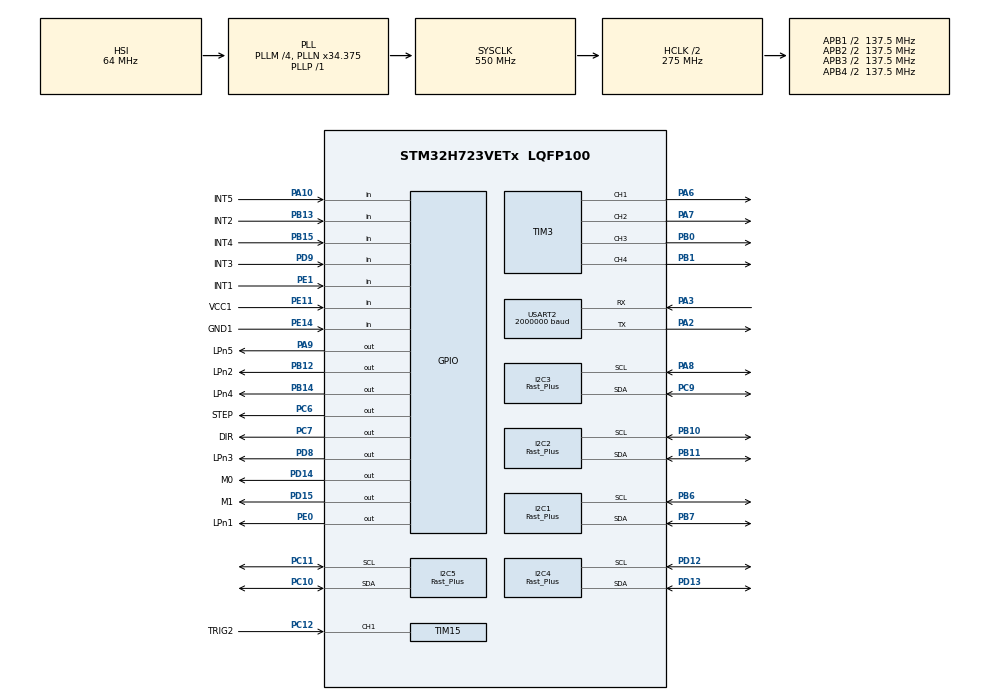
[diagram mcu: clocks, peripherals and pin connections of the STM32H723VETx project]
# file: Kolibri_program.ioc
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I2C1.I2C_Speed_Mode=I2C_Fast_Plus
I2C1.Speed=1000
I2C1.Timing=0x00100618
I2C2.I2C_Speed_Mode=I2C_Fast_Plus
I2C2.Timing=0x00100618
I2C3.I2C_Speed_Mode=I2C_Fast_Plus
I2C3.Timing=0x00100618
I2C4.I2C_Speed_Mode=I2C_Fast_Plus
I2C4.Timing=0x00100618
I2C5.I2C_Speed_Mode=I2C_Fast_Plus
I2C5.Timing=0x00100618
Mcu.Family=STM32H7
Mcu.Name=STM32H723VETx
Mcu.Package=LQFP100
NVIC.PriorityGroup=NVIC_PRIORITYGROUP_4
PA10.GPIO_Label=INT5
PA10.Signal=GPIO_Input
PA13(JTMS/SWDIO).Mode=Serial_Wire
PA13(JTMS/SWDIO).Signal=DEBUG_JTMS-SWDIO
PA14(JTCK/SWCLK).Mode=Serial_Wire
PA14(JTCK/SWCLK).Signal=DEBUG_JTCK-SWCLK
PA2.Mode=Asynchronous
PA2.Signal=USART2_TX
PA3.Mode=Asynchronous
PA3.Signal=USART2_RX
PA6.Signal=S_TIM3_CH1
PA7.Signal=S_TIM3_CH2
PA8.Mode=I2C
PA8.Signal=I2C3_SCL
PA9.GPIO_Label=LPn5
PA9.PinState=GPIO_PIN_SET
PA9.Signal=GPIO_Output
PB0.Signal=S_TIM3_CH3
PB1.Signal=S_TIM3_CH4
PB10.Mode=I2C
PB10.Signal=I2C2_SCL
PB11.Mode=I2C
PB11.Signal=I2C2_SDA
PB12.GPIO_Label=LPn2
PB12.PinState=GPIO_PIN_SET
PB12.Signal=GPIO_Output
PB13.GPIO_Label=INT2
PB13.Signal=GPIO_Input
PB14.GPIO_Label=LPn4
PB14.PinState=GPIO_PIN_SET
PB14.Signal=GPIO_Output
PB15.GPIO_Label=INT4
PB15.Signal=GPIO_Input
PB6.Mode=I2C
PB6.Signal=I2C1_SCL
PB7.Mode=I2C
PB7.Signal=I2C1_SDA
PC10.Mode=I2C
PC10.Signal=I2C5_SDA
PC11.Mode=I2C
PC11.Signal=I2C5_SCL
PC12.GPIO_Label=TRIG2
PC12.Signal=S_TIM15_CH1
PC6.GPIO_Label=STEP
PC6.GPIO_PuPd=GPIO_PULLDOWN
PC6.GPIO_Speed=GPIO_SPEED_FREQ_HIGH
PC6.Signal=GPIO_Output
PC7.GPIO_Label=DIR
PC7.Signal=GPIO_Output
PC9.Mode=I2C
PC9.Signal=I2C3_SDA
PD12.Mode=I2C
PD12.Signal=I2C4_SCL
PD13.Mode=I2C
PD13.Signal=I2C4_SDA
PD14.GPIO_Label=M0
PD14.PinState=GPIO_PIN_RESET
PD14.Signal=GPIO_Output
PD15.GPIO_Label=M1
PD15.PinState=GPIO_PIN_RESET
PD15.Signal=GPIO_Output
PD8.GPIO_Label=LPn3
PD8.PinState=GPIO_PIN_SET
PD8.Signal=GPIO_Output
PD9.GPIO_Label=INT3
PD9.Signal=GPIO_Input
PE0.GPIO_Label=LPn1
PE0.PinState=GPIO_PIN_SET
PE0.Signal=GPIO_Output
PE1.GPIO_Label=INT1
PE1.Signal=GPIO_Input
PE11.GPIO_Label=VCC1
PE11.GPIO_PuPd=GPIO_NOPULL
PE11.Signal=GPIO_Input
PE14.GPIO_Label=GND1
PE14.GPIO_PuPd=GPIO_NOPULL
PE14.Signal=GPIO_Input
PH0-OSC_IN.Mode=HSE-External-Oscillator
PH0-OSC_IN.Signal=RCC_OSC_IN
PH1-OSC_OUT.Mode=HSE-External-Oscillator
PH1-OSC_OUT.Signal=RCC_OSC_OUT
ProjectManager.HeapSize=0x800
ProjectManager.StackSize=0xA00
ProjectManager.TargetToolchain=STM32CubeIDE
RCC.ADCFreq_Value=129000000
RCC.APB1Freq_Value=137500000
RCC.APB2Freq_Value=137500000
RCC.APB3Freq_Value=137500000
RCC.APB4Freq_Value=137500000
RCC.CortexFreq_Value=550000000
RCC.D1PPRE=RCC_APB3_DIV2
RCC.D2PPRE1=RCC_APB1_DIV2
RCC.D2PPRE2=RCC_APB2_DIV2
RCC.D3PPRE=RCC_APB4_DIV2
RCC.DIVM1=4
RCC.DIVM3=4
RCC.DIVN1=34
RCC.DIVN3=15
RCC.DIVP1=1
RCC.DIVR3=6
RCC.HCLKFreq_Value=275000000
RCC.HPRE=RCC_HCLK_DIV2
RCC.HSE_VALUE=25000000
RCC.I2C123CLockSelection=RCC_I2C1235CLKSOURCE_PLL3
RCC.I2C4CLockSelection=RCC_I2C4CLKSOURCE_PLL3
RCC.PLL2FRACN=0
RCC.PLL3FRACN=0
RCC.PLLFRACN=3072
RCC.SYSCLKFreq_VALUE=550000000
RCC.SYSCLKSource=RCC_SYSCLKSOURCE_PLLCLK
RCC.USBCLockSelection=RCC_USBCLKSOURCE_HSI48
RCC.USBFreq_Value=48000000
SH.S_TIM15_CH1.0=TIM15_CH1,Input_Capture1_from_TI1
SH.S_TIM3_CH1.0=TIM3_CH1,PWM Generation1 CH1
SH.S_TIM3_CH2.0=TIM3_CH2,PWM Generation2 CH2
SH.S_TIM3_CH3.0=TIM3_CH3,PWM Generation3 CH3
SH.S_TIM3_CH4.0=TIM3_CH4,PWM Generation4 CH4
TIM15.Channel-Input_Capture1_from_TI1=TIM_CHANNEL_1
TIM3.Channel-PWM\ Generation1\ CH1=TIM_CHANNEL_1
TIM3.Channel-PWM\ Generation2\ CH2=TIM_CHANNEL_2
TIM3.Channel-PWM\ Generation3\ CH3=TIM_CHANNEL_3
TIM3.Channel-PWM\ Generation4\ CH4=TIM_CHANNEL_4
USART2.BaudRate=2000000
USART2.SwapParam=ADVFEATURE_SWAP_DISABLE
USART2.VirtualMode-Asynchronous=VM_ASYNC
VP_TIM3_VS_ClockSourceINT.Mode=Internal
board=custom

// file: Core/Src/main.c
/* USER CODE BEGIN Header */
/**
  ******************************************************************************
  * @file           : main.c
  * @brief          : Main program body
  ******************************************************************************
  * @attention
  *
  * Copyright (c) 2023 STMicroelectronics.
  * All rights reserved.
  *
  * This software is licensed under terms that can be found in the LICENSE file
  * in the root directory of this software component.
  * If no LICENSE file comes with this software, it is provided AS-IS.
  *
  ******************************************************************************
  */
/* USER CODE END Header */
#include "main.h"

/* USER CODE BEGIN Includes */
#include "vl53l5cx_api.h"
/* USER CODE END Includes */

I2C_HandleTypeDef hi2c1;
I2C_HandleTypeDef hi2c2;
I2C_HandleTypeDef hi2c3;
I2C_HandleTypeDef hi2c4;
I2C_HandleTypeDef hi2c5;

TIM_HandleTypeDef htim3;
TIM_HandleTypeDef htim15;

UART_HandleTypeDef huart2;

/* USER CODE BEGIN PV */
typedef struct
{
	VL53L5CX_Configuration 	Sensor;
	VL53L5CX_ResultsData 	Results_Sensor;
	uint8_t SensorisAlive;
	uint8_t status;

} VL53L5CX_Sensor;

VL53L5CX_Sensor Sensor1;
VL53L5CX_Sensor Sensor2;
VL53L5CX_Sensor Sensor3;
VL53L5CX_Sensor Sensor4;
VL53L5CX_Sensor Sensor5;

uint8_t GND1_Pin_read = 0;
uint8_t VIN1_Pin_read = 0;

uint16_t Position = 0;

/* USER CODE END PV */

void SystemClock_Config(void);
void PeriphCommonClock_Config(void);
static void MX_GPIO_Init(void);
static void MX_I2C1_Init(void);
static void MX_I2C2_Init(void);
static void MX_I2C3_Init(void);
static void MX_I2C4_Init(void);
static void MX_I2C5_Init(void);
static void MX_TIM3_Init(void);
static void MX_TIM15_Init(void);
static void MX_USART2_UART_Init(void);

/* USER CODE BEGIN 0 */

uint8_t get_data_by_polling(VL53L5CX_Sensor *Sensor){
	uint8_t p_data_ready, status = 0;
	HAL_StatusTypeDef ReadOK = HAL_OK;
	status = vl53l5cx_check_data_ready(&Sensor->Sensor, &p_data_ready);
	if(p_data_ready){
		status = vl53l5cx_get_ranging_data(&Sensor->Sensor, &Sensor->Results_Sensor);

		do{
			ReadOK = HAL_UART_Transmit(&huart2, (uint8_t*)&Position, 2, 1000);
		}while(ReadOK != HAL_OK);

		do{
			ReadOK = HAL_UART_Transmit(&huart2, (uint8_t*)(&Sensor->Sensor.platform.SensorNumber), 2, 1000);
		}while(ReadOK != HAL_OK);

		do{
			ReadOK = (HAL_UART_Transmit(&huart2, (uint8_t*)(&Sensor->Results_Sensor.distance_mm), 128, 1000) == HAL_BUSY);
		}while(ReadOK != HAL_OK);

		if(ReadOK == HAL_OK){
			HAL_Delay(10);
			return 1;
		}
		else{
			HAL_Delay(10);
			return 0;
		}
	}
	HAL_Delay(10);
	return 0;
}

void ReturnHome(void){

	HAL_GPIO_WritePin(DIR_GPIO_Port, DIR_Pin, GPIO_PIN_SET);

	for(int i = 0; i<50; i++){
		HAL_GPIO_TogglePin(GPIOC, GPIO_PIN_6);
		HAL_Delay(15);
	}

	do{
		HAL_GPIO_TogglePin(GPIOC, GPIO_PIN_6);
		HAL_Delay(15);
		GND1_Pin_read = HAL_GPIO_ReadPin(GPIOE, GPIO_PIN_11);
		VIN1_Pin_read = HAL_GPIO_ReadPin(GPIOE, GPIO_PIN_14);
	} while(!((VIN1_Pin_read == 1) && GND1_Pin_read == 1));

	HAL_GPIO_WritePin(GPIOC, GPIO_PIN_6, GPIO_PIN_RESET);
	HAL_Delay(100);

	HAL_GPIO_WritePin(DIR_GPIO_Port, DIR_Pin, GPIO_PIN_RESET);

}

void MoveNextPos(){

	uint8_t OldVal = 1;
	uint8_t NewVal = 0;
	HAL_Delay(100);

	HAL_GPIO_WritePin(DIR_GPIO_Port, DIR_Pin, GPIO_PIN_SET);

	do{
		HAL_GPIO_TogglePin(GPIOC, GPIO_PIN_6);
		HAL_Delay(15);
		HAL_GPIO_TogglePin(GPIOC, GPIO_PIN_6);
		HAL_Delay(15);

		VIN1_Pin_read = HAL_GPIO_ReadPin(GPIOE, GPIO_PIN_14);
		uint16_t p = 0;

		while(1){
			if(HAL_GPIO_ReadPin(GPIOE, GPIO_PIN_14) == 1){
				p++;
				if(p > 20000){
					break;
				}
			}
			else{
				VIN1_Pin_read = 0;
				break;
			}
		}
	} while((VIN1_Pin_read == 0));

	HAL_Delay(100);

	VIN1_Pin_read = HAL_GPIO_ReadPin(GPIOE, GPIO_PIN_14);

	do{
		HAL_GPIO_TogglePin(GPIOC, GPIO_PIN_6);
		HAL_Delay(15);
		HAL_GPIO_TogglePin(GPIOC, GPIO_PIN_6);
		HAL_Delay(15);

		VIN1_Pin_read = HAL_GPIO_ReadPin(GPIOE, GPIO_PIN_14);
		NewVal = VIN1_Pin_read;

		uint16_t p = 0;
		while(1){
			if(NewVal == HAL_GPIO_ReadPin(GPIOE, GPIO_PIN_14)){
				p++;
				if(p > 20000){
					break;
				}
			}
			else{
				NewVal = OldVal;
				break;
			}
		}
	} while(!(OldVal > NewVal)); //Premikam dokler nisem nazaj na nic

	HAL_Delay(100);
	VIN1_Pin_read = HAL_GPIO_ReadPin(GPIOE, GPIO_PIN_14);

	HAL_GPIO_TogglePin(GPIOC, GPIO_PIN_6);
	HAL_Delay(15);
	HAL_GPIO_TogglePin(GPIOC, GPIO_PIN_6);
	HAL_Delay(15);
	OldVal = NewVal;

	do{
		HAL_GPIO_TogglePin(GPIOC, GPIO_PIN_6);
		HAL_Delay(15);
		HAL_GPIO_TogglePin(GPIOC, GPIO_PIN_6);
		HAL_Delay(15);

		VIN1_Pin_read = HAL_GPIO_ReadPin(GPIOE, GPIO_PIN_14);
		NewVal = VIN1_Pin_read;

		uint16_t p = 0;
		while(1){
			if(NewVal == HAL_GPIO_ReadPin(GPIOE, GPIO_PIN_14)){
				p++;
				if(p > 20000){
					break;
				}
			}
			else{
				NewVal = OldVal;
				break;
			}
		}
	} while(!(OldVal < NewVal)); //Premikam dokler nisem nazaj na 1

	VIN1_Pin_read = HAL_GPIO_ReadPin(GPIOE, GPIO_PIN_14);

	HAL_GPIO_TogglePin(GPIOC, GPIO_PIN_6);
	HAL_Delay(15);
	HAL_GPIO_TogglePin(GPIOC, GPIO_PIN_6);
	HAL_Delay(15);

	HAL_GPIO_WritePin(GPIOC, GPIO_PIN_6, GPIO_PIN_RESET);
	Position = Position + 1;

	HAL_GPIO_WritePin(DIR_GPIO_Port, DIR_Pin, GPIO_PIN_RESET);

	HAL_Delay(100);
}

/* USER CODE END 0 */

int main(void)
{
  /* USER CODE BEGIN 1 */
	for(int i = 0; i<50000; i++){
		asm("nop");
	}

  /* USER CODE END 1 */

  /* MCU Configuration--------------------------------------------------------*/

  /* Reset of all peripherals, Initializes the Flash interface and the Systick. */
  HAL_Init();

  /* Configure the system clock */
  SystemClock_Config();

/* Configure the peripherals common clocks */
  PeriphCommonClock_Config();

  /* Initialize all configured peripherals */
  MX_GPIO_Init();
  MX_I2C1_Init();
  MX_I2C2_Init();
  MX_I2C3_Init();
  MX_I2C4_Init();
  MX_I2C5_Init();
  MX_TIM3_Init();
  MX_TIM15_Init();
  MX_USART2_UART_Init();
  /* USER CODE BEGIN 2 */
    NVIC_EnableIRQ(SysTick_IRQn);
    HAL_Delay(100);

  	Sensor1.Sensor.platform.address = VL53L5CX_DEFAULT_I2C_ADDRESS;
  	Sensor1.Sensor.platform.I2C = &hi2c1;
  	Sensor1.Sensor.platform.SensorNumber = '1';

  	Sensor2.Sensor.platform.address = VL53L5CX_DEFAULT_I2C_ADDRESS;
  	Sensor2.Sensor.platform.I2C = &hi2c2;
  	Sensor2.Sensor.platform.SensorNumber = '2';

  	Sensor3.Sensor.platform.address = VL53L5CX_DEFAULT_I2C_ADDRESS;
  	Sensor3.Sensor.platform.I2C = &hi2c3;
  	Sensor3.Sensor.platform.SensorNumber = '3';

  	Sensor4.Sensor.platform.address = VL53L5CX_DEFAULT_I2C_ADDRESS;
  	Sensor4.Sensor.platform.I2C = &hi2c4;
  	Sensor4.Sensor.platform.SensorNumber = '4';

  	Sensor5.Sensor.platform.address = VL53L5CX_DEFAULT_I2C_ADDRESS;
  	Sensor5.Sensor.platform.I2C = &hi2c5;
  	Sensor5.Sensor.platform.SensorNumber = '5';

  	Sensor1.status = vl53l5cx_is_alive(&Sensor1.Sensor, &Sensor1.SensorisAlive);
  	if(Sensor1.SensorisAlive){
  		Sensor1.status = vl53l5cx_init(&Sensor1.Sensor);
  		Sensor1.status = vl53l5cx_set_ranging_frequency_hz(&Sensor1.Sensor, 10);	// Set 2Hz ranging frequency
  		Sensor1.status = vl53l5cx_set_resolution(&Sensor1.Sensor, VL53L5CX_RESOLUTION_8X8);
  		Sensor1.status = vl53l5cx_set_ranging_mode(&Sensor1.Sensor, VL53L5CX_RANGING_MODE_CONTINUOUS);  // Set mode continuous
  	}

  	Sensor2.status = vl53l5cx_is_alive(&Sensor2.Sensor, &Sensor2.SensorisAlive);
  	if(Sensor2.SensorisAlive){
  		Sensor2.status = vl53l5cx_init(&Sensor2.Sensor);
  		Sensor2.status = vl53l5cx_set_ranging_frequency_hz(&Sensor2.Sensor, 10);	// Set 2Hz ranging frequency
  		Sensor2.status = vl53l5cx_set_resolution(&Sensor2.Sensor, VL53L5CX_RESOLUTION_8X8);
  		Sensor2.status = vl53l5cx_set_ranging_mode(&Sensor2.Sensor, VL53L5CX_RANGING_MODE_CONTINUOUS);  // Set mode continuous
  	}
  	Sensor3.status = vl53l5cx_is_alive(&Sensor3.Sensor, &Sensor3.SensorisAlive);
  	if(Sensor3.SensorisAlive){
  		Sensor3.status = vl53l5cx_init(&Sensor3.Sensor);
  		Sensor3.status = vl53l5cx_set_ranging_frequency_hz(&Sensor3.Sensor, 10);	// Set 2Hz ranging frequency
  		Sensor3.status = vl53l5cx_set_resolution(&Sensor3.Sensor, VL53L5CX_RESOLUTION_8X8);
  		Sensor3.status = vl53l5cx_set_ranging_mode(&Sensor3.Sensor, VL53L5CX_RANGING_MODE_CONTINUOUS);  // Set mode continuous
  	}
  	Sensor4.status = vl53l5cx_is_alive(&Sensor4.Sensor, &Sensor4.SensorisAlive);
  	if(Sensor4.SensorisAlive){
  		Sensor4.status = vl53l5cx_init(&Sensor4.Sensor);
  		Sensor4.status = vl53l5cx_set_ranging_frequency_hz(&Sensor4.Sensor, 10);	// Set 2Hz ranging frequency
  		Sensor4.status = vl53l5cx_set_resolution(&Sensor4.Sensor, VL53L5CX_RESOLUTION_8X8);
  		Sensor4.status = vl53l5cx_set_ranging_mode(&Sensor4.Sensor, VL53L5CX_RANGING_MODE_CONTINUOUS);  // Set mode continuous
  	}
  	Sensor5.status = vl53l5cx_is_alive(&Sensor5.Sensor, &Sensor5.SensorisAlive);
  	if(Sensor5.SensorisAlive){
  		Sensor5.status = vl53l5cx_init(&Sensor5.Sensor);
  		Sensor5.status = vl53l5cx_set_ranging_frequency_hz(&Sensor5.Sensor, 10);	// Set 2Hz ranging frequency
  		Sensor5.status = vl53l5cx_set_resolution(&Sensor5.Sensor, VL53L5CX_RESOLUTION_8X8);
  		Sensor5.status = vl53l5cx_set_ranging_mode(&Sensor5.Sensor, VL53L5CX_RANGING_MODE_CONTINUOUS);  // Set mode continuous
  	}

  	vl53l5cx_start_ranging(&Sensor1.Sensor);
  	vl53l5cx_start_ranging(&Sensor2.Sensor);
  	vl53l5cx_start_ranging(&Sensor3.Sensor);
  	vl53l5cx_start_ranging(&Sensor4.Sensor);
  	vl53l5cx_start_ranging(&Sensor5.Sensor);

  	uint8_t StartRead = 0;
  	Position = 0;
//  	ReturnHome();

  /* USER CODE END 2 */

  /* Infinite loop */
  /* USER CODE BEGIN WHILE */
    while (1)
    {
    	HAL_UART_Receive(&huart2, &StartRead, 1, 500);

//		GND1_Pin_read = HAL_GPIO_ReadPin(GPIOE, GPIO_PIN_11);
//		VIN1_Pin_read = HAL_GPIO_ReadPin(GPIOE, GPIO_PIN_14);

    	if(StartRead == '7'){
//    		MoveNextPos();
    		StartRead = 0;
    		for(int i = 0; i < 1; i++){

				while(!get_data_by_polling(&Sensor1)){
					asm("nop");
				}
				while(!get_data_by_polling(&Sensor5)){
					asm("nop");
				}
				while(!get_data_by_polling(&Sensor3)){
					asm("nop");
				}
				while(!get_data_by_polling(&Sensor4)){
					asm("nop");
				}
				while(!get_data_by_polling(&Sensor2)){
					asm("nop");
				}

//				MoveNextPos();
//				if(Position >= 8){
//					Position = 0;
//					HAL_Delay(1000);
//				}

    		}

    	}

    /* USER CODE END WHILE */

  }
}

void SystemClock_Config(void)
{
  RCC_OscInitTypeDef RCC_OscInitStruct = {0};
  RCC_ClkInitTypeDef RCC_ClkInitStruct = {0};

  /** Supply configuration update enable
  */
  HAL_PWREx_ConfigSupply(PWR_LDO_SUPPLY);

  /** Configure the main internal regulator output voltage
  */
  __HAL_PWR_VOLTAGESCALING_CONFIG(PWR_REGULATOR_VOLTAGE_SCALE0);

  while(!__HAL_PWR_GET_FLAG(PWR_FLAG_VOSRDY)) {}

  /** Initializes the RCC Oscillators according to the specified parameters
  * in the RCC_OscInitTypeDef structure.
  */
  RCC_OscInitStruct.OscillatorType = RCC_OSCILLATORTYPE_HSI;
  RCC_OscInitStruct.HSIState = RCC_HSI_DIV1;
  RCC_OscInitStruct.HSICalibrationValue = 64;
  RCC_OscInitStruct.PLL.PLLState = RCC_PLL_ON;
  RCC_OscInitStruct.PLL.PLLSource = RCC_PLLSOURCE_HSI;
  RCC_OscInitStruct.PLL.PLLM = 4;
  RCC_OscInitStruct.PLL.PLLN = 34;
  RCC_OscInitStruct.PLL.PLLP = 1;
  RCC_OscInitStruct.PLL.PLLQ = 2;
  RCC_OscInitStruct.PLL.PLLR = 2;
  RCC_OscInitStruct.PLL.PLLRGE = RCC_PLL1VCIRANGE_3;
  RCC_OscInitStruct.PLL.PLLVCOSEL = RCC_PLL1VCOWIDE;
  RCC_OscInitStruct.PLL.PLLFRACN = 3072;
  if (HAL_RCC_OscConfig(&RCC_OscInitStruct) != HAL_OK)
  {
    Error_Handler();
  }

  /** Initializes the CPU, AHB and APB buses clocks
  */
  RCC_ClkInitStruct.ClockType = RCC_CLOCKTYPE_HCLK|RCC_CLOCKTYPE_SYSCLK
                              |RCC_CLOCKTYPE_PCLK1|RCC_CLOCKTYPE_PCLK2
                              |RCC_CLOCKTYPE_D3PCLK1|RCC_CLOCKTYPE_D1PCLK1;
  RCC_ClkInitStruct.SYSCLKSource = RCC_SYSCLKSOURCE_PLLCLK;
  RCC_ClkInitStruct.SYSCLKDivider = RCC_SYSCLK_DIV1;
  RCC_ClkInitStruct.AHBCLKDivider = RCC_HCLK_DIV2;
  RCC_ClkInitStruct.APB3CLKDivider = RCC_APB3_DIV2;
  RCC_ClkInitStruct.APB1CLKDivider = RCC_APB1_DIV2;
  RCC_ClkInitStruct.APB2CLKDivider = RCC_APB2_DIV2;
  RCC_ClkInitStruct.APB4CLKDivider = RCC_APB4_DIV2;

  if (HAL_RCC_ClockConfig(&RCC_ClkInitStruct, FLASH_LATENCY_3) != HAL_OK)
  {
    Error_Handler();
  }
}

void PeriphCommonClock_Config(void)
{
  RCC_PeriphCLKInitTypeDef PeriphClkInitStruct = {0};

  /** Initializes the peripherals clock
  */
  PeriphClkInitStruct.PeriphClockSelection = RCC_PERIPHCLK_I2C4|RCC_PERIPHCLK_I2C2
                              |RCC_PERIPHCLK_I2C3|RCC_PERIPHCLK_I2C5
                              |RCC_PERIPHCLK_I2C1;
  PeriphClkInitStruct.PLL3.PLL3M = 4;
  PeriphClkInitStruct.PLL3.PLL3N = 15;
  PeriphClkInitStruct.PLL3.PLL3P = 2;
  PeriphClkInitStruct.PLL3.PLL3Q = 2;
  PeriphClkInitStruct.PLL3.PLL3R = 6;
  PeriphClkInitStruct.PLL3.PLL3RGE = RCC_PLL3VCIRANGE_3;
  PeriphClkInitStruct.PLL3.PLL3VCOSEL = RCC_PLL3VCOWIDE;
  PeriphClkInitStruct.PLL3.PLL3FRACN = 0;
  PeriphClkInitStruct.I2c123ClockSelection = RCC_I2C1235CLKSOURCE_PLL3;
  PeriphClkInitStruct.I2c4ClockSelection = RCC_I2C4CLKSOURCE_PLL3;
  if (HAL_RCCEx_PeriphCLKConfig(&PeriphClkInitStruct) != HAL_OK)
  {
    Error_Handler();
  }
}

static void MX_I2C1_Init(void)
{

  hi2c1.Instance = I2C1;
  hi2c1.Init.Timing = 0x00100618;
  hi2c1.Init.OwnAddress1 = 0;
  hi2c1.Init.AddressingMode = I2C_ADDRESSINGMODE_7BIT;
  hi2c1.Init.DualAddressMode = I2C_DUALADDRESS_DISABLE;
  hi2c1.Init.OwnAddress2 = 0;
  hi2c1.Init.OwnAddress2Masks = I2C_OA2_NOMASK;
  hi2c1.Init.GeneralCallMode = I2C_GENERALCALL_DISABLE;
  hi2c1.Init.NoStretchMode = I2C_NOSTRETCH_DISABLE;
  if (HAL_I2C_Init(&hi2c1) != HAL_OK)
  {
    Error_Handler();
  }

  /** Configure Analogue filter
  */
  if (HAL_I2CEx_ConfigAnalogFilter(&hi2c1, I2C_ANALOGFILTER_ENABLE) != HAL_OK)
  {
    Error_Handler();
  }

  /** Configure Digital filter
  */
  if (HAL_I2CEx_ConfigDigitalFilter(&hi2c1, 0) != HAL_OK)
  {
    Error_Handler();
  }

  /** I2C Enable Fast Mode Plus
  */
  HAL_I2CEx_EnableFastModePlus(I2C_FASTMODEPLUS_I2C1);

}

static void MX_I2C2_Init(void)
{

  hi2c2.Instance = I2C2;
  hi2c2.Init.Timing = 0x00100618;
  hi2c2.Init.OwnAddress1 = 0;
  hi2c2.Init.AddressingMode = I2C_ADDRESSINGMODE_7BIT;
  hi2c2.Init.DualAddressMode = I2C_DUALADDRESS_DISABLE;
  hi2c2.Init.OwnAddress2 = 0;
  hi2c2.Init.OwnAddress2Masks = I2C_OA2_NOMASK;
  hi2c2.Init.GeneralCallMode = I2C_GENERALCALL_DISABLE;
  hi2c2.Init.NoStretchMode = I2C_NOSTRETCH_DISABLE;
  if (HAL_I2C_Init(&hi2c2) != HAL_OK)
  {
    Error_Handler();
  }

  /** Configure Analogue filter
  */
  if (HAL_I2CEx_ConfigAnalogFilter(&hi2c2, I2C_ANALOGFILTER_ENABLE) != HAL_OK)
  {
    Error_Handler();
  }

  /** Configure Digital filter
  */
  if (HAL_I2CEx_ConfigDigitalFilter(&hi2c2, 0) != HAL_OK)
  {
    Error_Handler();
  }

  /** I2C Enable Fast Mode Plus
  */
  HAL_I2CEx_EnableFastModePlus(I2C_FASTMODEPLUS_I2C2);

}

static void MX_I2C3_Init(void)
{

  hi2c3.Instance = I2C3;
  hi2c3.Init.Timing = 0x00100618;
  hi2c3.Init.OwnAddress1 = 0;
  hi2c3.Init.AddressingMode = I2C_ADDRESSINGMODE_7BIT;
  hi2c3.Init.DualAddressMode = I2C_DUALADDRESS_DISABLE;
  hi2c3.Init.OwnAddress2 = 0;
  hi2c3.Init.OwnAddress2Masks = I2C_OA2_NOMASK;
  hi2c3.Init.GeneralCallMode = I2C_GENERALCALL_DISABLE;
  hi2c3.Init.NoStretchMode = I2C_NOSTRETCH_DISABLE;
  if (HAL_I2C_Init(&hi2c3) != HAL_OK)
  {
    Error_Handler();
  }

  /** Configure Analogue filter
  */
  if (HAL_I2CEx_ConfigAnalogFilter(&hi2c3, I2C_ANALOGFILTER_ENABLE) != HAL_OK)
  {
    Error_Handler();
  }

  /** Configure Digital filter
  */
  if (HAL_I2CEx_ConfigDigitalFilter(&hi2c3, 0) != HAL_OK)
  {
    Error_Handler();
  }

  /** I2C Enable Fast Mode Plus
  */
  HAL_I2CEx_EnableFastModePlus(I2C_FASTMODEPLUS_I2C3);

}

static void MX_I2C4_Init(void)
{

  hi2c4.Instance = I2C4;
  hi2c4.Init.Timing = 0x00100618;
  hi2c4.Init.OwnAddress1 = 0;
  hi2c4.Init.AddressingMode = I2C_ADDRESSINGMODE_7BIT;
  hi2c4.Init.DualAddressMode = I2C_DUALADDRESS_DISABLE;
  hi2c4.Init.OwnAddress2 = 0;
  hi2c4.Init.OwnAddress2Masks = I2C_OA2_NOMASK;
  hi2c4.Init.GeneralCallMode = I2C_GENERALCALL_DISABLE;
  hi2c4.Init.NoStretchMode = I2C_NOSTRETCH_DISABLE;
  if (HAL_I2C_Init(&hi2c4) != HAL_OK)
  {
    Error_Handler();
  }

  /** Configure Analogue filter
  */
  if (HAL_I2CEx_ConfigAnalogFilter(&hi2c4, I2C_ANALOGFILTER_ENABLE) != HAL_OK)
  {
    Error_Handler();
  }

  /** Configure Digital filter
  */
  if (HAL_I2CEx_ConfigDigitalFilter(&hi2c4, 0) != HAL_OK)
  {
    Error_Handler();
  }

  /** I2C Enable Fast Mode Plus
  */
  HAL_I2CEx_EnableFastModePlus(I2C_FASTMODEPLUS_I2C4);

}

static void MX_I2C5_Init(void)
{

  hi2c5.Instance = I2C5;
  hi2c5.Init.Timing = 0x00100618;
  hi2c5.Init.OwnAddress1 = 0;
  hi2c5.Init.AddressingMode = I2C_ADDRESSINGMODE_7BIT;
  hi2c5.Init.DualAddressMode = I2C_DUALADDRESS_DISABLE;
  hi2c5.Init.OwnAddress2 = 0;
  hi2c5.Init.OwnAddress2Masks = I2C_OA2_NOMASK;
  hi2c5.Init.GeneralCallMode = I2C_GENERALCALL_DISABLE;
  hi2c5.Init.NoStretchMode = I2C_NOSTRETCH_DISABLE;
  if (HAL_I2C_Init(&hi2c5) != HAL_OK)
  {
    Error_Handler();
  }

  /** Configure Analogue filter
  */
  if (HAL_I2CEx_ConfigAnalogFilter(&hi2c5, I2C_ANALOGFILTER_ENABLE) != HAL_OK)
  {
    Error_Handler();
  }

  /** Configure Digital filter
  */
  if (HAL_I2CEx_ConfigDigitalFilter(&hi2c5, 0) != HAL_OK)
  {
    Error_Handler();
  }

  /** I2C Enable Fast Mode Plus
  */
  HAL_I2CEx_EnableFastModePlus(I2C_FASTMODEPLUS_I2C5);

}

static void MX_TIM3_Init(void)
{

  TIM_ClockConfigTypeDef sClockSourceConfig = {0};
  TIM_MasterConfigTypeDef sMasterConfig = {0};
  TIM_OC_InitTypeDef sConfigOC = {0};

  htim3.Instance = TIM3;
  htim3.Init.Prescaler = 0;
  htim3.Init.CounterMode = TIM_COUNTERMODE_UP;
  htim3.Init.Period = 65535;
  htim3.Init.ClockDivision = TIM_CLOCKDIVISION_DIV1;
  htim3.Init.AutoReloadPreload = TIM_AUTORELOAD_PRELOAD_DISABLE;
  if (HAL_TIM_Base_Init(&htim3) != HAL_OK)
  {
    Error_Handler();
  }
  sClockSourceConfig.ClockSource = TIM_CLOCKSOURCE_INTERNAL;
  if (HAL_TIM_ConfigClockSource(&htim3, &sClockSourceConfig) != HAL_OK)
  {
    Error_Handler();
  }
  if (HAL_TIM_PWM_Init(&htim3) != HAL_OK)
  {
    Error_Handler();
  }
  sMasterConfig.MasterOutputTrigger = TIM_TRGO_RESET;
  sMasterConfig.MasterSlaveMode = TIM_MASTERSLAVEMODE_DISABLE;
  if (HAL_TIMEx_MasterConfigSynchronization(&htim3, &sMasterConfig) != HAL_OK)
  {
    Error_Handler();
  }
  sConfigOC.OCMode = TIM_OCMODE_PWM1;
  sConfigOC.Pulse = 0;
  sConfigOC.OCPolarity = TIM_OCPOLARITY_HIGH;
  sConfigOC.OCFastMode = TIM_OCFAST_DISABLE;
  if (HAL_TIM_PWM_ConfigChannel(&htim3, &sConfigOC, TIM_CHANNEL_1) != HAL_OK)
  {
    Error_Handler();
  }
  if (HAL_TIM_PWM_ConfigChannel(&htim3, &sConfigOC, TIM_CHANNEL_2) != HAL_OK)
  {
    Error_Handler();
  }
  if (HAL_TIM_PWM_ConfigChannel(&htim3, &sConfigOC, TIM_CHANNEL_3) != HAL_OK)
  {
    Error_Handler();
  }
  if (HAL_TIM_PWM_ConfigChannel(&htim3, &sConfigOC, TIM_CHANNEL_4) != HAL_OK)
  {
    Error_Handler();
  }
  HAL_TIM_MspPostInit(&htim3);

}

static void MX_TIM15_Init(void)
{

  TIM_MasterConfigTypeDef sMasterConfig = {0};
  TIM_IC_InitTypeDef sConfigIC = {0};

  htim15.Instance = TIM15;
  htim15.Init.Prescaler = 0;
  htim15.Init.CounterMode = TIM_COUNTERMODE_UP;
  htim15.Init.Period = 65535;
  htim15.Init.ClockDivision = TIM_CLOCKDIVISION_DIV1;
  htim15.Init.RepetitionCounter = 0;
  htim15.Init.AutoReloadPreload = TIM_AUTORELOAD_PRELOAD_DISABLE;
  if (HAL_TIM_IC_Init(&htim15) != HAL_OK)
  {
    Error_Handler();
  }
  sMasterConfig.MasterOutputTrigger = TIM_TRGO_RESET;
  sMasterConfig.MasterSlaveMode = TIM_MASTERSLAVEMODE_DISABLE;
  if (HAL_TIMEx_MasterConfigSynchronization(&htim15, &sMasterConfig) != HAL_OK)
  {
    Error_Handler();
  }
  sConfigIC.ICPolarity = TIM_INPUTCHANNELPOLARITY_RISING;
  sConfigIC.ICSelection = TIM_ICSELECTION_DIRECTTI;
  sConfigIC.ICPrescaler = TIM_ICPSC_DIV1;
  sConfigIC.ICFilter = 0;
  if (HAL_TIM_IC_ConfigChannel(&htim15, &sConfigIC, TIM_CHANNEL_1) != HAL_OK)
  {
    Error_Handler();
  }

}

static void MX_USART2_UART_Init(void)
{

  huart2.Instance = USART2;
  huart2.Init.BaudRate = 2000000;
  huart2.Init.WordLength = UART_WORDLENGTH_8B;
  huart2.Init.StopBits = UART_STOPBITS_1;
  huart2.Init.Parity = UART_PARITY_NONE;
  huart2.Init.Mode = UART_MODE_TX_RX;
  huart2.Init.HwFlowCtl = UART_HWCONTROL_NONE;
  huart2.Init.OverSampling = UART_OVERSAMPLING_16;
  huart2.Init.OneBitSampling = UART_ONE_BIT_SAMPLE_DISABLE;
  huart2.Init.ClockPrescaler = UART_PRESCALER_DIV1;
  huart2.AdvancedInit.AdvFeatureInit = UART_ADVFEATURE_NO_INIT;
  if (HAL_UART_Init(&huart2) != HAL_OK)
  {
    Error_Handler();
  }
  if (HAL_UARTEx_SetTxFifoThreshold(&huart2, UART_TXFIFO_THRESHOLD_1_8) != HAL_OK)
  {
    Error_Handler();
  }
  if (HAL_UARTEx_SetRxFifoThreshold(&huart2, UART_RXFIFO_THRESHOLD_1_8) != HAL_OK)
  {
    Error_Handler();
  }
  if (HAL_UARTEx_DisableFifoMode(&huart2) != HAL_OK)
  {
    Error_Handler();
  }

}

static void MX_GPIO_Init(void)
{
  GPIO_InitTypeDef GPIO_InitStruct = {0};

  /* GPIO Ports Clock Enable */
  __HAL_RCC_GPIOH_CLK_ENABLE();
  __HAL_RCC_GPIOA_CLK_ENABLE();
  __HAL_RCC_GPIOB_CLK_ENABLE();
  __HAL_RCC_GPIOE_CLK_ENABLE();
  __HAL_RCC_GPIOD_CLK_ENABLE();
  __HAL_RCC_GPIOC_CLK_ENABLE();

  /*Configure GPIO pin Output Level */
  HAL_GPIO_WritePin(GPIOB, LPn2_Pin|LPn4_Pin, GPIO_PIN_SET);

  /*Configure GPIO pin Output Level */
  HAL_GPIO_WritePin(LPn3_GPIO_Port, LPn3_Pin, GPIO_PIN_SET);

  /*Configure GPIO pin Output Level */
  HAL_GPIO_WritePin(GPIOD, M0_Pin|M1_Pin, GPIO_PIN_RESET);

  /*Configure GPIO pin Output Level */
  HAL_GPIO_WritePin(GPIOC, STEP_Pin|DIR_Pin, GPIO_PIN_RESET);

  /*Configure GPIO pin Output Level */
  HAL_GPIO_WritePin(LPn5_GPIO_Port, LPn5_Pin, GPIO_PIN_SET);

  /*Configure GPIO pin Output Level */
  HAL_GPIO_WritePin(LPn1_GPIO_Port, LPn1_Pin, GPIO_PIN_SET);

  /*Configure GPIO pins : VCC1_Pin GND1_Pin INT1_Pin */
  GPIO_InitStruct.Pin = VCC1_Pin|GND1_Pin|INT1_Pin;
  GPIO_InitStruct.Mode = GPIO_MODE_INPUT;
  GPIO_InitStruct.Pull = GPIO_NOPULL;
  HAL_GPIO_Init(GPIOE, &GPIO_InitStruct);

  /*Configure GPIO pins : LPn2_Pin LPn4_Pin */
  GPIO_InitStruct.Pin = LPn2_Pin|LPn4_Pin;
  GPIO_InitStruct.Mode = GPIO_MODE_OUTPUT_PP;
  GPIO_InitStruct.Pull = GPIO_NOPULL;
  GPIO_InitStruct.Speed = GPIO_SPEED_FREQ_LOW;
  HAL_GPIO_Init(GPIOB, &GPIO_InitStruct);

  /*Configure GPIO pins : INT2_Pin INT4_Pin */
  GPIO_InitStruct.Pin = INT2_Pin|INT4_Pin;
  GPIO_InitStruct.Mode = GPIO_MODE_INPUT;
  GPIO_InitStruct.Pull = GPIO_NOPULL;
  HAL_GPIO_Init(GPIOB, &GPIO_InitStruct);

  /*Configure GPIO pins : LPn3_Pin M0_Pin M1_Pin */
  GPIO_InitStruct.Pin = LPn3_Pin|M0_Pin|M1_Pin;
  GPIO_InitStruct.Mode = GPIO_MODE_OUTPUT_PP;
  GPIO_InitStruct.Pull = GPIO_NOPULL;
  GPIO_InitStruct.Speed = GPIO_SPEED_FREQ_LOW;
  HAL_GPIO_Init(GPIOD, &GPIO_InitStruct);

  /*Configure GPIO pin : INT3_Pin */
  GPIO_InitStruct.Pin = INT3_Pin;
  GPIO_InitStruct.Mode = GPIO_MODE_INPUT;
  GPIO_InitStruct.Pull = GPIO_NOPULL;
  HAL_GPIO_Init(INT3_GPIO_Port, &GPIO_InitStruct);

  /*Configure GPIO pin : STEP_Pin */
  GPIO_InitStruct.Pin = STEP_Pin;
  GPIO_InitStruct.Mode = GPIO_MODE_OUTPUT_PP;
  GPIO_InitStruct.Pull = GPIO_PULLDOWN;
  GPIO_InitStruct.Speed = GPIO_SPEED_FREQ_HIGH;
  HAL_GPIO_Init(STEP_GPIO_Port, &GPIO_InitStruct);

  /*Configure GPIO pin : DIR_Pin */
  GPIO_InitStruct.Pin = DIR_Pin;
  GPIO_InitStruct.Mode = GPIO_MODE_OUTPUT_PP;
  GPIO_InitStruct.Pull = GPIO_NOPULL;
  GPIO_InitStruct.Speed = GPIO_SPEED_FREQ_LOW;
  HAL_GPIO_Init(DIR_GPIO_Port, &GPIO_InitStruct);

  /*Configure GPIO pin : LPn5_Pin */
  GPIO_InitStruct.Pin = LPn5_Pin;
  GPIO_InitStruct.Mode = GPIO_MODE_OUTPUT_PP;
  GPIO_InitStruct.Pull = GPIO_NOPULL;
  GPIO_InitStruct.Speed = GPIO_SPEED_FREQ_LOW;
  HAL_GPIO_Init(LPn5_GPIO_Port, &GPIO_InitStruct);

  /*Configure GPIO pin : INT5_Pin */
  GPIO_InitStruct.Pin = INT5_Pin;
  GPIO_InitStruct.Mode = GPIO_MODE_INPUT;
  GPIO_InitStruct.Pull = GPIO_NOPULL;
  HAL_GPIO_Init(INT5_GPIO_Port, &GPIO_InitStruct);

  /*Configure GPIO pin : LPn1_Pin */
  GPIO_InitStruct.Pin = LPn1_Pin;
  GPIO_InitStruct.Mode = GPIO_MODE_OUTPUT_PP;
  GPIO_InitStruct.Pull = GPIO_NOPULL;
  GPIO_InitStruct.Speed = GPIO_SPEED_FREQ_LOW;
  HAL_GPIO_Init(LPn1_GPIO_Port, &GPIO_InitStruct);

}

void Error_Handler(void)
{
  __disable_irq();
  while (1)
  {
  }
}
